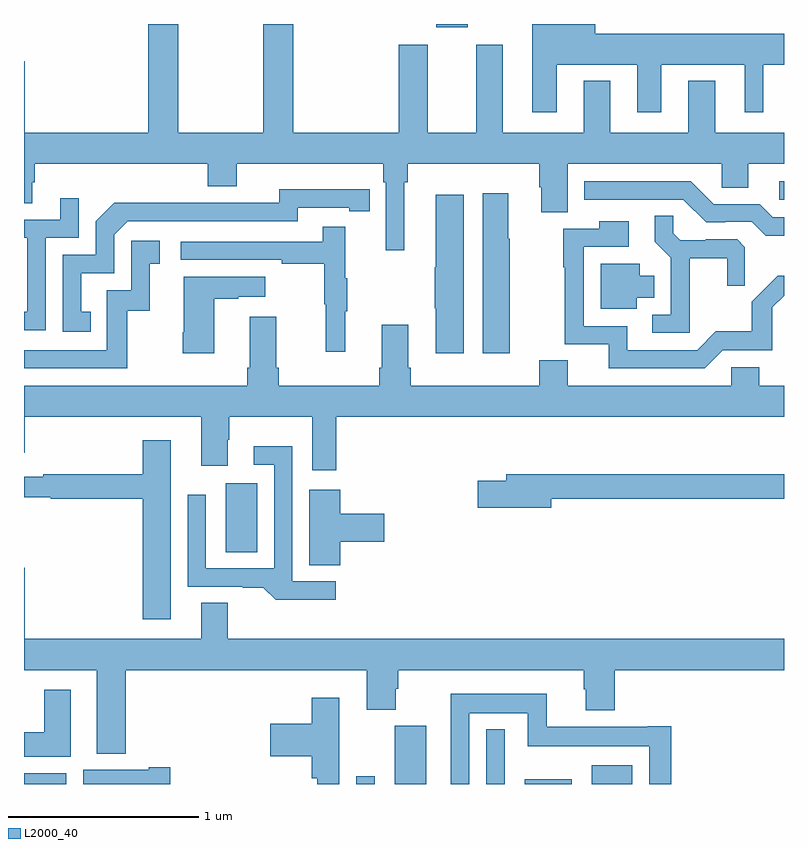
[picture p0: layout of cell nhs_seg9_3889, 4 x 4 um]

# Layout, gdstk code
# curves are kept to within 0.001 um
import gdstk
lib = gdstk.Library(unit=1e-6, precision=1e-09)
def R(c, l, rs):  # rectangles x0, y0, x1, y1
    for r in rs: c.add(gdstk.rectangle(r[:2], r[2:], *l))
def P(c, l, *ps):  # polygons
    for p in ps: c.add(gdstk.Polygon(p, *l))
L2000_40 = (2000, 40)

nhs_seg9_3889 = lib.new_cell('nhs_seg9_3889')
R(nhs_seg9_3889, L2000_40, [(333,1182.5,333.223,1182.556), (334.749,1182.5,334.845,1182.541), (334.952,1182.5,335.116,1182.807), (335.433,1182.5,335.529,1182.787), (335.636,1182.5,335.884,1182.526), (335.987,1182.5,336.202,1182.598), (334.061,1183.72,334.228,1184.083), (336.975,1185.576,337,1185.672), (335.171,1186.482,335.335,1186.5)])
P(nhs_seg9_3889, L2000_40, [(335.002,1185.668),(335.021,1185.668),(335.021,1185.764),(335.711,1185.764),(335.711,1185.642),(335.723,1185.642),(335.723,1185.508),(335.863,1185.508),(335.863,1185.764),(336.672,1185.764),(336.672,1185.637),(336.811,1185.637),(336.811,1185.764),(337,1185.764),(337,1185.928),(336.637,1185.928),(336.637,1186.201),(336.497,1186.201),(336.497,1185.928),(336.085,1185.928),(336.085,1186.201),(335.945,1186.201),(335.945,1185.928),(335.521,1185.928),(335.521,1186.39),(335.381,1186.39),(335.381,1185.928),(335.125,1185.928),(335.125,1186.39),(334.973,1186.39),(334.973,1185.928),(334.418,1185.928),(334.418,1186.5),(334.258,1186.5),(334.258,1185.928),(333.813,1185.928),(333.813,1186.5),(333.653,1186.5),(333.653,1185.928),(333.004,1185.928),(333.004,1186.303),(333,1186.303),(333,1185.556),(333.043,1185.556),(333.043,1185.666),(333.056,1185.666),(333.056,1185.764),(333.968,1185.764),(333.968,1185.647),(334.12,1185.647),(334.12,1185.764),(334.892,1185.764),(334.892,1185.668),(334.905,1185.668),(334.905,1185.309),(335.002,1185.309)],
  [(335.803,1186.286),(336.227,1186.286),(336.227,1186.035),(336.355,1186.035),(336.355,1186.286),(336.794,1186.286),(336.794,1186.035),(336.892,1186.035),(336.892,1186.286),(337,1186.286),(337,1186.45),(336.007,1186.45),(336.007,1186.5),(335.675,1186.5),(335.675,1186.035),(335.803,1186.035)],
  [(337,1185.483),(336.942,1185.483),(336.873,1185.552),(336.63,1185.552),(336.51,1185.672),(335.948,1185.672),(335.948,1185.576),(336.471,1185.576),(336.591,1185.456),(336.692,1185.456),(336.692,1185.459),(336.831,1185.459),(336.904,1185.386),(337,1185.386)],
  [(333.35,1184.985),(333.301,1184.985),(333.301,1185.189),(333.474,1185.189),(333.474,1185.39),(333.546,1185.462),(334.44,1185.462),(334.44,1185.534),(334.712,1185.534),(334.712,1185.514),(334.82,1185.514),(334.82,1185.63),(334.344,1185.631),(334.344,1185.558),(333.884,1185.558),(333.884,1185.56),(333.476,1185.56),(333.378,1185.462),(333.378,1185.285),(333.204,1185.285),(333.204,1184.88),(333.35,1184.88)],
  [(335.557,1185.371),(335.548,1185.371),(335.548,1185.61),(335.414,1185.61),(335.414,1184.768),(335.557,1184.768)],
  [(335.314,1185.601),(335.168,1185.601),(335.168,1185.221),(335.161,1185.221),(335.161,1185.004),(335.168,1185.004),(335.168,1184.766),(335.314,1184.766)],
  [(333.114,1185.375),(333.288,1185.375),(333.288,1185.583),(333.191,1185.583),(333.191,1185.471),(333,1185.471),(333,1185.375),(333.018,1185.375),(333.018,1184.986),(333,1184.986),(333,1184.889),(333.114,1184.889)],
  [(336.503,1185.266),(336.7,1185.266),(336.7,1185.123),(336.794,1185.123),(336.794,1185.325),(336.753,1185.366),(336.588,1185.366),(336.588,1185.363),(336.454,1185.363),(336.417,1185.4),(336.417,1185.491),(336.319,1185.491),(336.319,1185.355),(336.405,1185.269),(336.405,1184.97),(336.306,1184.97),(336.306,1184.874),(336.503,1184.874)],
  [(336.678,1184.784),(336.939,1184.784),(336.939,1185.009),(337,1185.07),(337,1185.176),(336.968,1185.176),(336.831,1185.038),(336.831,1184.883),(336.642,1184.883),(336.543,1184.784),(336.175,1184.784),(336.175,1184.91),(335.946,1184.91),(335.946,1185.327),(336.184,1185.327),(336.184,1185.463),(336.028,1185.463),(336.028,1185.423),(335.838,1185.423),(335.838,1185.22),(335.845,1185.22),(335.845,1184.814),(336.077,1184.814),(336.077,1184.688),(336.582,1184.688)],
  [(334.691,1184.987),(334.702,1184.987),(334.702,1185.161),(334.691,1185.161),(334.691,1185.433),(334.573,1185.433),(334.573,1185.354),(333.825,1185.354),(333.825,1185.258),(334.357,1185.258),(334.357,1185.238),(334.581,1185.238),(334.581,1185.024),(334.588,1185.024),(334.588,1184.775),(334.691,1184.775)],
  [(333.544,1184.991),(333.662,1184.991),(333.662,1185.237),(333.715,1185.237),(333.715,1185.358),(333.564,1185.358),(333.564,1185.099),(333.435,1185.099),(333.435,1184.784),(333,1184.784),(333,1184.688),(333.544,1184.688)],
  [(336.226,1185.059),(336.316,1185.059),(336.316,1185.175),(336.241,1185.175),(336.241,1185.238),(336.035,1185.238),(336.035,1185.002),(336.226,1185.002)],
  [(334,1185.055),(334.127,1185.055),(334.127,1185.065),(334.27,1185.065),(334.27,1185.169),(333.842,1185.169),(333.842,1184.878),(333.835,1184.878),(333.835,1184.766),(334,1184.766)],
  [(334.643,1184.432),(337,1184.432),(337,1184.596),(336.87,1184.596),(336.87,1184.694),(336.723,1184.694),(336.723,1184.596),(335.863,1184.596),(335.863,1184.729),(335.711,1184.729),(335.711,1184.596),(335.036,1184.596),(335.036,1184.692),(335.023,1184.692),(335.023,1184.917),(334.883,1184.917),(334.883,1184.692),(334.871,1184.692),(334.871,1184.596),(334.34,1184.596),(334.34,1184.692),(334.327,1184.692),(334.327,1184.959),(334.187,1184.959),(334.187,1184.692),(334.175,1184.692),(334.175,1184.596),(333,1184.596),(333,1184.244),(333.004,1184.244),(333.004,1184.432),(333.932,1184.432),(333.932,1184.175),(334.072,1184.175),(334.072,1184.312),(334.08,1184.312),(334.08,1184.432),(334.517,1184.432),(334.517,1184.151),(334.643,1184.151)],
  [(333.772,1184.308),(333.626,1184.308),(333.626,1184.131),(333.1,1184.131),(333.1,1184.118),(333,1184.118),(333,1184.01),(333.142,1184.01),(333.142,1184.002),(333.626,1184.002),(333.626,1183.368),(333.772,1183.368)],
  [(334.642,1183.566),(334.413,1183.566),(334.413,1184.278),(334.209,1184.278),(334.209,1184.181),(334.317,1184.181),(334.317,1183.635),(333.957,1183.635),(333.957,1184.023),(333.861,1184.023),(333.861,1183.539),(334.151,1183.539),(334.151,1183.534),(334.259,1183.534),(334.325,1183.469),(334.642,1183.469)],
  [(335.776,1184.002),(337,1184.002),(337,1184.131),(335.537,1184.131),(335.537,1184.097),(335.388,1184.097),(335.388,1183.955),(335.776,1183.955)],
  [(334.664,1183.775),(334.897,1183.775),(334.897,1183.922),(334.664,1183.922),(334.664,1184.05),(334.502,1184.05),(334.502,1183.651),(334.664,1183.651)],
  [(333.536,1183.1),(334.805,1183.1),(334.805,1182.892),(334.957,1182.892),(334.957,1183.001),(334.97,1183.001),(334.97,1183.1),(335.945,1183.1),(335.945,1182.999),(335.957,1182.999),(335.957,1182.887),(336.11,1182.887),(336.11,1183.1),(337,1183.1),(337,1183.264),(334.072,1183.264),(334.072,1183.454),(333.932,1183.454),(333.932,1183.264),(333.004,1183.264),(333.004,1183.639),(333,1183.639),(333,1183.1),(333.383,1183.1),(333.383,1182.659),(333.536,1182.659)],
  [(333.247,1182.997),(333.107,1182.997),(333.107,1182.772),(333,1182.772),(333,1182.644),(333.247,1182.644)],
  [(335.343,1182.872),(335.652,1182.872),(335.652,1182.698),(336.291,1182.698),(336.291,1182.5),(336.407,1182.5),(336.407,1182.805),(336.284,1182.805),(336.284,1182.802),(335.75,1182.802),(335.75,1182.976),(335.246,1182.976),(335.246,1182.5),(335.343,1182.5)],
  [(334.659,1182.663),(334.66,1182.663),(334.66,1182.955),(334.514,1182.955),(334.514,1182.817),(334.296,1182.817),(334.296,1182.647),(334.514,1182.647),(334.514,1182.53),(334.543,1182.53),(334.543,1182.5),(334.659,1182.5)],
  [(333.769,1182.587),(333.656,1182.587),(333.656,1182.574),(333.311,1182.574),(333.311,1182.5),(333.769,1182.5)])

lib.write_gds('nhs_seg9_3889.gds')
